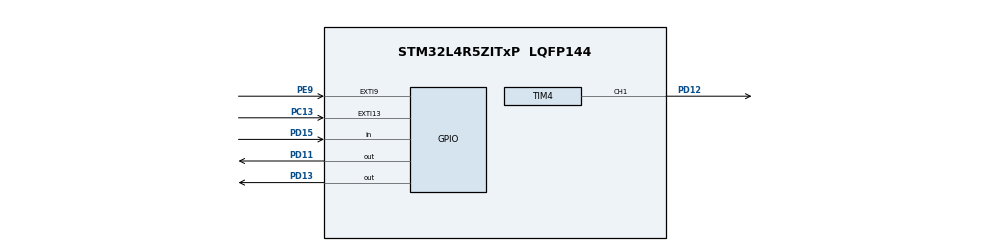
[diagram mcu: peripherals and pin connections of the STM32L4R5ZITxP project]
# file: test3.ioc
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Mcu.Family=STM32L4
Mcu.Name=STM32L4R5ZITxP
Mcu.Package=LQFP144
NVIC.EXTI15_10_IRQn=true\:0\:0\:false\:false\:true\:true\:true\:true
NVIC.EXTI9_5_IRQn=true\:0\:0\:false\:false\:true\:true\:true\:true
NVIC.PriorityGroup=NVIC_PRIORITYGROUP_4
NVIC.TIM4_IRQn=true\:0\:0\:false\:false\:true\:true\:true\:true
PA0.Signal=S_TIM2_CH1
PA1.Signal=ADCx_IN6
PA10.Signal=USB_OTG_FS_ID
PA13\ (JTMS/SWDIO).Signal=SYS_JTMS-SWDIO
PA14\ (JTCK/SWCLK).Signal=SYS_JTCK-SWCLK
PA3.Signal=ADCx_IN8
PA4.Signal=SPI1_NSS
PA5.Signal=SPI1_SCK
PA6.Signal=SPI1_MISO
PA7.Signal=SPI1_MOSI
PA8.Signal=USB_OTG_FS_SOF
PA9.Signal=USB_OTG_FS_VBUS
PB0.Signal=S_TIM3_CH3
PB1.Signal=ADCx_IN16
PB10.Signal=S_TIM2_CH3
PB12.Signal=SAI2_FS_A
PB13.Signal=SAI2_SCK_A
PB14.Signal=S_TIM15_CH1
PB15.Signal=SAI2_SD_A
PB2.Signal=COMP1_INP
PB3\ (JTDO/TRACESWO).Signal=SPI3_SCK
PB4\ (NJTRST).Signal=SPI3_MISO
PB5.Signal=SPI3_MOSI
PB6.Signal=COMP2_INP
PB8.Signal=I2C1_SCL
PB9.Signal=I2C1_SDA
PC0.Signal=ADCx_IN1
PC1.Signal=ADCx_IN2
PC10.Signal=SDMMC1_D2
PC11.Signal=SDMMC1_D3
PC12.Signal=SDMMC1_CK
PC13.GPIO_ModeDefaultEXTI=GPIO_MODE_IT_FALLING
PC13.Signal=GPXTI13
PC14-OSC32_IN\ (PC14).Signal=RCC_OSC32_IN
PC15-OSC32_OUT\ (PC15).Signal=RCC_OSC32_OUT
PC2.Signal=ADCx_IN3
PC3.Signal=ADCx_IN4
PC4.Signal=ADCx_IN13
PC5.Signal=ADCx_IN14
PC6.Signal=SAI2_MCLK_A
PC7.Signal=S_TIM3_CH2
PC8.Signal=SDMMC1_D0
PC9.Signal=SDMMC1_D1
PD0.Signal=CAN1_RX
PD11.Signal=GPIO_Output
PD12.Signal=S_TIM4_CH1
PD13.Signal=GPIO_Output
PD14.Signal=S_TIM4_CH3
PD15.GPIO_PuPd=GPIO_PULLUP
PD15.Signal=GPIO_Input
PD2.Signal=SDMMC1_CMD
PD3.Signal=USART2_CTS
PD4.Signal=USART2_RTS
PD5.Signal=USART2_TX
PD6.Signal=USART2_RX
PD8.Signal=USART3_TX
PD9.Signal=USART3_RX
PE0.Signal=S_TIM4_ETR
PE10.Signal=TIM1_CH2N
PE11.Signal=S_TIM1_CH2
PE12.Signal=TIM1_CH3N
PE13.Signal=S_TIM1_CH3
PE14.Signal=TIM1_BKIN2
PE15.Signal=TIM1_BKIN
PE2.Signal=SAI1_MCLK_A
PE3.Signal=SAI1_SD_B
PE7.Signal=S_TIM1_ETR
PE8.Signal=TIM1_CH1N
PE9.GPIO_ModeDefaultEXTI=GPIO_MODE_IT_FALLING
PE9.GPIO_PuPd=GPIO_PULLUP
PE9.Signal=GPXTI9
PF0.Signal=I2C2_SDA
PF1.Signal=I2C2_SCL
PF2.Signal=I2C2_SMBA
PF7.Signal=SAI1_MCLK_B
PG7.Signal=LPUART1_TX
PG8.Signal=LPUART1_RX
PH0-OSC_IN\ (PH0).Signal=RCC_OSC_IN
PH1-OSC_OUT\ (PH1).Signal=RCC_OSC_OUT
ProjectManager.HeapSize=0x200
ProjectManager.StackSize=0x400
ProjectManager.TargetToolchain=STM32CubeIDE
RCC.HSE_VALUE=8000000
RCC.HSI48_VALUE=48000000
RCC.HSI_VALUE=16000000
RCC.LSE_VALUE=32768
RCC.MSI_VALUE=4000000
RCC.VCOOutputFreq_Value=32000000
SH.ADCx_IN1.0=ADC1_IN1
SH.ADCx_IN13.0=ADC1_IN13
SH.ADCx_IN14.0=ADC1_IN14
SH.ADCx_IN16.0=ADC1_IN16
SH.ADCx_IN2.0=ADC1_IN2
SH.ADCx_IN3.0=ADC1_IN3
SH.ADCx_IN4.0=ADC1_IN4
SH.ADCx_IN6.0=ADC1_IN6
SH.ADCx_IN8.0=ADC1_IN8
SH.S_TIM15_CH1.0=TIM15_CH1
SH.S_TIM1_CH2.0=TIM1_CH2
SH.S_TIM1_CH3.0=TIM1_CH3
SH.S_TIM1_ETR.0=TIM1_ETR
SH.S_TIM2_CH1.0=TIM2_CH1
SH.S_TIM2_CH3.0=TIM2_CH3
SH.S_TIM3_CH2.0=TIM3_CH2
SH.S_TIM3_CH3.0=TIM3_CH3
SH.S_TIM4_CH1.0=TIM4_CH1,PWM Generation1 CH1
SH.S_TIM4_CH3.0=TIM4_CH3
SH.S_TIM4_ETR.0=TIM4_ETR
TIM4.Channel-PWM\ Generation1\ CH1=TIM_CHANNEL_1
TIM4.Period=999
TIM4.Prescaler=1
TIM4.Pulse-PWM\ Generation1\ CH1=500
board=NUCLEO-L4R5ZI-P

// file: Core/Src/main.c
/* USER CODE BEGIN Header */
/**
  ******************************************************************************
  * @file           : main.c
  * @brief          : Main program body
  ******************************************************************************
  * @attention
  *
  * Copyright (c) 2026 STMicroelectronics.
  * All rights reserved.
  *
  * This software is licensed under terms that can be found in the LICENSE file
  * in the root directory of this software component.
  * If no LICENSE file comes with this software, it is provided AS-IS.
  *
  ******************************************************************************
  */
/* USER CODE END Header */
#include "main.h"

/* USER CODE BEGIN PD */
#define coord2Move(coord) (((coord) / 100.0) * (523.875-unusable))
/* USER CODE END PD */

TIM_HandleTypeDef htim4;

/* USER CODE BEGIN PV */
volatile int target = 0;
volatile double curr = 0.0;
volatile int arr = 4000;
volatile int dir = 1;
volatile int homing = 0;
volatile int hcom = 0;
volatile int unusable = 5.6;

/* USER CODE END PV */

void SystemClock_Config(void);
static void MX_GPIO_Init(void);
static void MX_TIM4_Init(void);
/* USER CODE BEGIN PFP */
void mMove(double targetpos, double currpos);
/* USER CODE END PFP */

/* USER CODE BEGIN 0 */
void HAL_TIM_PWM_PulseFinishedCallback(TIM_HandleTypeDef *htim) {
	if(htim->Channel == HAL_TIM_ACTIVE_CHANNEL_1) {
		if(target > 0) {
			target--;

			curr += (0.0516 * dir);

			if(arr > 999) {
				arr -= 2;
				__HAL_TIM_SET_AUTORELOAD(&htim4, arr);
				__HAL_TIM_SET_COMPARE(&htim4, TIM_CHANNEL_1, arr/2);
			}
		} else {
			HAL_GPIO_WritePin(GPIOD, GPIO_PIN_11, GPIO_PIN_SET);
			HAL_TIM_PWM_Stop_IT(&htim4, TIM_CHANNEL_1);
		}
	}
}

void HAL_GPIO_EXTI_Callback(uint16_t GPIO_Pin) {
	if(GPIO_Pin == GPIO_PIN_13) {
			homing = 1;
			HAL_GPIO_WritePin(GPIOD, GPIO_PIN_13, GPIO_PIN_SET);
			dir = -1;
			target = 1000000;
			arr = 4000;

			__HAL_TIM_SET_AUTORELOAD(&htim4, arr);
			__HAL_TIM_SET_COMPARE(&htim4, TIM_CHANNEL_1, arr/2);
			HAL_GPIO_WritePin(GPIOD, GPIO_PIN_11, GPIO_PIN_RESET);
			HAL_TIM_PWM_Start_IT(&htim4, TIM_CHANNEL_1);
		}

	if(GPIO_Pin == GPIO_PIN_9) {
		HAL_TIM_PWM_Stop_IT(&htim4, TIM_CHANNEL_1);
		HAL_GPIO_WritePin(GPIOD, GPIO_PIN_11, GPIO_PIN_SET);
		target = 0;
		curr = 0.0;
		homing = 0;
		hcom = 1;
	}
}

/* USER CODE END 0 */

int main(void)
{

  /* MCU Configuration--------------------------------------------------------*/

  /* Reset of all peripherals, Initializes the Flash interface and the Systick. */
  HAL_Init();

  /* Configure the system clock */
  SystemClock_Config();

  /* Initialize all configured peripherals */
  MX_GPIO_Init();
  MX_TIM4_Init();
  /* USER CODE BEGIN 2 */
//  HAL_GPIO_WritePin(GPIOD, GPIO_PIN_11, GPIO_PIN_RESET);
  HAL_TIM_PWM_Start_IT(&htim4, TIM_CHANNEL_1);

  /* USER CODE END 2 */

  /* Infinite loop */
  double positions[] = {10.0, 20.0, 20.0, 30.0, 40.0, 50.0, 60.0, 70.0, 80.0, 90.0};

    /* USER CODE BEGIN WHILE */
    while (1)
    {
  	  if(homing) continue;

  	  if(hcom) {
  		  mMove(coord2Move(unusable), 0.0);
  		  while(target > 0);
  		  curr = 0.0;
  		  hcom = 0;
  	  }

  	  for(int i = 0; i < 10; i++) {
  		  if(homing) break;

  		  mMove(coord2Move(positions[i]), curr);

  		  while(target > 0 && !homing);

  		  if(homing) break;
  		  HAL_Delay(1000);
  	  }
      /* USER CODE END WHILE */
  }
}

void SystemClock_Config(void)
{
  RCC_OscInitTypeDef RCC_OscInitStruct = {0};
  RCC_ClkInitTypeDef RCC_ClkInitStruct = {0};

  /** Configure the main internal regulator output voltage
  */
  if (HAL_PWREx_ControlVoltageScaling(PWR_REGULATOR_VOLTAGE_SCALE1) != HAL_OK)
  {
    Error_Handler();
  }

  /** Initializes the RCC Oscillators according to the specified parameters
  * in the RCC_OscInitTypeDef structure.
  */
  RCC_OscInitStruct.OscillatorType = RCC_OSCILLATORTYPE_MSI;
  RCC_OscInitStruct.MSIState = RCC_MSI_ON;
  RCC_OscInitStruct.MSICalibrationValue = 0;
  RCC_OscInitStruct.MSIClockRange = RCC_MSIRANGE_6;
  RCC_OscInitStruct.PLL.PLLState = RCC_PLL_NONE;
  if (HAL_RCC_OscConfig(&RCC_OscInitStruct) != HAL_OK)
  {
    Error_Handler();
  }

  /** Initializes the CPU, AHB and APB buses clocks
  */
  RCC_ClkInitStruct.ClockType = RCC_CLOCKTYPE_HCLK|RCC_CLOCKTYPE_SYSCLK
                              |RCC_CLOCKTYPE_PCLK1|RCC_CLOCKTYPE_PCLK2;
  RCC_ClkInitStruct.SYSCLKSource = RCC_SYSCLKSOURCE_MSI;
  RCC_ClkInitStruct.AHBCLKDivider = RCC_SYSCLK_DIV1;
  RCC_ClkInitStruct.APB1CLKDivider = RCC_HCLK_DIV1;
  RCC_ClkInitStruct.APB2CLKDivider = RCC_HCLK_DIV1;

  if (HAL_RCC_ClockConfig(&RCC_ClkInitStruct, FLASH_LATENCY_0) != HAL_OK)
  {
    Error_Handler();
  }
}

static void MX_TIM4_Init(void)
{

  TIM_MasterConfigTypeDef sMasterConfig = {0};
  TIM_OC_InitTypeDef sConfigOC = {0};

  htim4.Instance = TIM4;
  htim4.Init.Prescaler = 1;
  htim4.Init.CounterMode = TIM_COUNTERMODE_UP;
  htim4.Init.Period = 999;
  htim4.Init.ClockDivision = TIM_CLOCKDIVISION_DIV1;
  htim4.Init.AutoReloadPreload = TIM_AUTORELOAD_PRELOAD_DISABLE;
  if (HAL_TIM_PWM_Init(&htim4) != HAL_OK)
  {
    Error_Handler();
  }
  sMasterConfig.MasterOutputTrigger = TIM_TRGO_RESET;
  sMasterConfig.MasterSlaveMode = TIM_MASTERSLAVEMODE_DISABLE;
  if (HAL_TIMEx_MasterConfigSynchronization(&htim4, &sMasterConfig) != HAL_OK)
  {
    Error_Handler();
  }
  sConfigOC.OCMode = TIM_OCMODE_PWM1;
  sConfigOC.Pulse = 500;
  sConfigOC.OCPolarity = TIM_OCPOLARITY_HIGH;
  sConfigOC.OCFastMode = TIM_OCFAST_DISABLE;
  if (HAL_TIM_PWM_ConfigChannel(&htim4, &sConfigOC, TIM_CHANNEL_1) != HAL_OK)
  {
    Error_Handler();
  }
  HAL_TIM_MspPostInit(&htim4);

}

static void MX_GPIO_Init(void)
{
  GPIO_InitTypeDef GPIO_InitStruct = {0};

  /* GPIO Ports Clock Enable */
  __HAL_RCC_GPIOE_CLK_ENABLE();
  __HAL_RCC_GPIOC_CLK_ENABLE();
  __HAL_RCC_GPIOF_CLK_ENABLE();
  __HAL_RCC_GPIOH_CLK_ENABLE();
  __HAL_RCC_GPIOA_CLK_ENABLE();
  __HAL_RCC_GPIOB_CLK_ENABLE();
  __HAL_RCC_GPIOD_CLK_ENABLE();
  __HAL_RCC_GPIOG_CLK_ENABLE();
  HAL_PWREx_EnableVddIO2();

  /*Configure GPIO pin Output Level */
  HAL_GPIO_WritePin(GPIOD, GPIO_PIN_11|GPIO_PIN_13, GPIO_PIN_RESET);

  /*Configure GPIO pins : PE2 PE3 */
  GPIO_InitStruct.Pin = GPIO_PIN_2|GPIO_PIN_3;
  GPIO_InitStruct.Mode = GPIO_MODE_AF_PP;
  GPIO_InitStruct.Pull = GPIO_NOPULL;
  GPIO_InitStruct.Speed = GPIO_SPEED_FREQ_LOW;
  GPIO_InitStruct.Alternate = GPIO_AF13_SAI1;
  HAL_GPIO_Init(GPIOE, &GPIO_InitStruct);

  /*Configure GPIO pin : PC13 */
  GPIO_InitStruct.Pin = GPIO_PIN_13;
  GPIO_InitStruct.Mode = GPIO_MODE_IT_FALLING;
  GPIO_InitStruct.Pull = GPIO_NOPULL;
  HAL_GPIO_Init(GPIOC, &GPIO_InitStruct);

  /*Configure GPIO pins : PF0 PF1 PF2 */
  GPIO_InitStruct.Pin = GPIO_PIN_0|GPIO_PIN_1|GPIO_PIN_2;
  GPIO_InitStruct.Mode = GPIO_MODE_AF_OD;
  GPIO_InitStruct.Pull = GPIO_NOPULL;
  GPIO_InitStruct.Speed = GPIO_SPEED_FREQ_VERY_HIGH;
  GPIO_InitStruct.Alternate = GPIO_AF4_I2C2;
  HAL_GPIO_Init(GPIOF, &GPIO_InitStruct);

  /*Configure GPIO pin : PF7 */
  GPIO_InitStruct.Pin = GPIO_PIN_7;
  GPIO_InitStruct.Mode = GPIO_MODE_AF_PP;
  GPIO_InitStruct.Pull = GPIO_NOPULL;
  GPIO_InitStruct.Speed = GPIO_SPEED_FREQ_LOW;
  GPIO_InitStruct.Alternate = GPIO_AF13_SAI1;
  HAL_GPIO_Init(GPIOF, &GPIO_InitStruct);

  /*Configure GPIO pins : PC0 PC1 PC2 PC3
                           PC4 PC5 */
  GPIO_InitStruct.Pin = GPIO_PIN_0|GPIO_PIN_1|GPIO_PIN_2|GPIO_PIN_3
                          |GPIO_PIN_4|GPIO_PIN_5;
  GPIO_InitStruct.Mode = GPIO_MODE_ANALOG_ADC_CONTROL;
  GPIO_InitStruct.Pull = GPIO_NOPULL;
  HAL_GPIO_Init(GPIOC, &GPIO_InitStruct);

  /*Configure GPIO pin : PA0 */
  GPIO_InitStruct.Pin = GPIO_PIN_0;
  GPIO_InitStruct.Mode = GPIO_MODE_AF_PP;
  GPIO_InitStruct.Pull = GPIO_NOPULL;
  GPIO_InitStruct.Speed = GPIO_SPEED_FREQ_LOW;
  GPIO_InitStruct.Alternate = GPIO_AF1_TIM2;
  HAL_GPIO_Init(GPIOA, &GPIO_InitStruct);

  /*Configure GPIO pins : PA1 PA3 */
  GPIO_InitStruct.Pin = GPIO_PIN_1|GPIO_PIN_3;
  GPIO_InitStruct.Mode = GPIO_MODE_ANALOG_ADC_CONTROL;
  GPIO_InitStruct.Pull = GPIO_NOPULL;
  HAL_GPIO_Init(GPIOA, &GPIO_InitStruct);

  /*Configure GPIO pins : PA4 PA5 PA6 PA7 */
  GPIO_InitStruct.Pin = GPIO_PIN_4|GPIO_PIN_5|GPIO_PIN_6|GPIO_PIN_7;
  GPIO_InitStruct.Mode = GPIO_MODE_AF_PP;
  GPIO_InitStruct.Pull = GPIO_NOPULL;
  GPIO_InitStruct.Speed = GPIO_SPEED_FREQ_VERY_HIGH;
  GPIO_InitStruct.Alternate = GPIO_AF5_SPI1;
  HAL_GPIO_Init(GPIOA, &GPIO_InitStruct);

  /*Configure GPIO pin : PB0 */
  GPIO_InitStruct.Pin = GPIO_PIN_0;
  GPIO_InitStruct.Mode = GPIO_MODE_AF_PP;
  GPIO_InitStruct.Pull = GPIO_NOPULL;
  GPIO_InitStruct.Speed = GPIO_SPEED_FREQ_LOW;
  GPIO_InitStruct.Alternate = GPIO_AF2_TIM3;
  HAL_GPIO_Init(GPIOB, &GPIO_InitStruct);

  /*Configure GPIO pin : PB1 */
  GPIO_InitStruct.Pin = GPIO_PIN_1;
  GPIO_InitStruct.Mode = GPIO_MODE_ANALOG_ADC_CONTROL;
  GPIO_InitStruct.Pull = GPIO_NOPULL;
  HAL_GPIO_Init(GPIOB, &GPIO_InitStruct);

  /*Configure GPIO pins : PB2 PB6 */
  GPIO_InitStruct.Pin = GPIO_PIN_2|GPIO_PIN_6;
  GPIO_InitStruct.Mode = GPIO_MODE_ANALOG;
  GPIO_InitStruct.Pull = GPIO_NOPULL;
  HAL_GPIO_Init(GPIOB, &GPIO_InitStruct);

  /*Configure GPIO pins : PE7 PE8 PE10 PE11
                           PE12 PE13 */
  GPIO_InitStruct.Pin = GPIO_PIN_7|GPIO_PIN_8|GPIO_PIN_10|GPIO_PIN_11
                          |GPIO_PIN_12|GPIO_PIN_13;
  GPIO_InitStruct.Mode = GPIO_MODE_AF_PP;
  GPIO_InitStruct.Pull = GPIO_NOPULL;
  GPIO_InitStruct.Speed = GPIO_SPEED_FREQ_LOW;
  GPIO_InitStruct.Alternate = GPIO_AF1_TIM1;
  HAL_GPIO_Init(GPIOE, &GPIO_InitStruct);

  /*Configure GPIO pin : PE9 */
  GPIO_InitStruct.Pin = GPIO_PIN_9;
  GPIO_InitStruct.Mode = GPIO_MODE_IT_FALLING;
  GPIO_InitStruct.Pull = GPIO_PULLUP;
  HAL_GPIO_Init(GPIOE, &GPIO_InitStruct);

  /*Configure GPIO pins : PE14 PE15 */
  GPIO_InitStruct.Pin = GPIO_PIN_14|GPIO_PIN_15;
  GPIO_InitStruct.Mode = GPIO_MODE_AF_PP;
  GPIO_InitStruct.Pull = GPIO_NOPULL;
  GPIO_InitStruct.Speed = GPIO_SPEED_FREQ_LOW;
  GPIO_InitStruct.Alternate = GPIO_AF3_TIM1_COMP1;
  HAL_GPIO_Init(GPIOE, &GPIO_InitStruct);

  /*Configure GPIO pin : PB10 */
  GPIO_InitStruct.Pin = GPIO_PIN_10;
  GPIO_InitStruct.Mode = GPIO_MODE_AF_PP;
  GPIO_InitStruct.Pull = GPIO_NOPULL;
  GPIO_InitStruct.Speed = GPIO_SPEED_FREQ_LOW;
  GPIO_InitStruct.Alternate = GPIO_AF1_TIM2;
  HAL_GPIO_Init(GPIOB, &GPIO_InitStruct);

  /*Configure GPIO pins : PB12 PB13 PB15 */
  GPIO_InitStruct.Pin = GPIO_PIN_12|GPIO_PIN_13|GPIO_PIN_15;
  GPIO_InitStruct.Mode = GPIO_MODE_AF_PP;
  GPIO_InitStruct.Pull = GPIO_NOPULL;
  GPIO_InitStruct.Speed = GPIO_SPEED_FREQ_LOW;
  GPIO_InitStruct.Alternate = GPIO_AF13_SAI2;
  HAL_GPIO_Init(GPIOB, &GPIO_InitStruct);

  /*Configure GPIO pin : PB14 */
  GPIO_InitStruct.Pin = GPIO_PIN_14;
  GPIO_InitStruct.Mode = GPIO_MODE_AF_PP;
  GPIO_InitStruct.Pull = GPIO_NOPULL;
  GPIO_InitStruct.Speed = GPIO_SPEED_FREQ_LOW;
  GPIO_InitStruct.Alternate = GPIO_AF14_TIM15;
  HAL_GPIO_Init(GPIOB, &GPIO_InitStruct);

  /*Configure GPIO pins : PD8 PD9 */
  GPIO_InitStruct.Pin = GPIO_PIN_8|GPIO_PIN_9;
  GPIO_InitStruct.Mode = GPIO_MODE_AF_PP;
  GPIO_InitStruct.Pull = GPIO_NOPULL;
  GPIO_InitStruct.Speed = GPIO_SPEED_FREQ_VERY_HIGH;
  GPIO_InitStruct.Alternate = GPIO_AF7_USART3;
  HAL_GPIO_Init(GPIOD, &GPIO_InitStruct);

  /*Configure GPIO pins : PD11 PD13 */
  GPIO_InitStruct.Pin = GPIO_PIN_11|GPIO_PIN_13;
  GPIO_InitStruct.Mode = GPIO_MODE_OUTPUT_PP;
  GPIO_InitStruct.Pull = GPIO_NOPULL;
  GPIO_InitStruct.Speed = GPIO_SPEED_FREQ_LOW;
  HAL_GPIO_Init(GPIOD, &GPIO_InitStruct);

  /*Configure GPIO pin : PD15 */
  GPIO_InitStruct.Pin = GPIO_PIN_15;
  GPIO_InitStruct.Mode = GPIO_MODE_INPUT;
  GPIO_InitStruct.Pull = GPIO_PULLUP;
  HAL_GPIO_Init(GPIOD, &GPIO_InitStruct);

  /*Configure GPIO pins : PG7 PG8 */
  GPIO_InitStruct.Pin = GPIO_PIN_7|GPIO_PIN_8;
  GPIO_InitStruct.Mode = GPIO_MODE_AF_PP;
  GPIO_InitStruct.Pull = GPIO_NOPULL;
  GPIO_InitStruct.Speed = GPIO_SPEED_FREQ_VERY_HIGH;
  GPIO_InitStruct.Alternate = GPIO_AF8_LPUART1;
  HAL_GPIO_Init(GPIOG, &GPIO_InitStruct);

  /*Configure GPIO pin : PC6 */
  GPIO_InitStruct.Pin = GPIO_PIN_6;
  GPIO_InitStruct.Mode = GPIO_MODE_AF_PP;
  GPIO_InitStruct.Pull = GPIO_NOPULL;
  GPIO_InitStruct.Speed = GPIO_SPEED_FREQ_LOW;
  GPIO_InitStruct.Alternate = GPIO_AF13_SAI2;
  HAL_GPIO_Init(GPIOC, &GPIO_InitStruct);

  /*Configure GPIO pin : PC7 */
  GPIO_InitStruct.Pin = GPIO_PIN_7;
  GPIO_InitStruct.Mode = GPIO_MODE_AF_PP;
  GPIO_InitStruct.Pull = GPIO_NOPULL;
  GPIO_InitStruct.Speed = GPIO_SPEED_FREQ_LOW;
  GPIO_InitStruct.Alternate = GPIO_AF2_TIM3;
  HAL_GPIO_Init(GPIOC, &GPIO_InitStruct);

  /*Configure GPIO pins : PC8 PC9 PC10 PC11
                           PC12 */
  GPIO_InitStruct.Pin = GPIO_PIN_8|GPIO_PIN_9|GPIO_PIN_10|GPIO_PIN_11
                          |GPIO_PIN_12;
  GPIO_InitStruct.Mode = GPIO_MODE_AF_PP;
  GPIO_InitStruct.Pull = GPIO_NOPULL;
  GPIO_InitStruct.Speed = GPIO_SPEED_FREQ_VERY_HIGH;
  GPIO_InitStruct.Alternate = GPIO_AF12_SDMMC1;
  HAL_GPIO_Init(GPIOC, &GPIO_InitStruct);

  /*Configure GPIO pins : PA8 PA10 */
  GPIO_InitStruct.Pin = GPIO_PIN_8|GPIO_PIN_10;
  GPIO_InitStruct.Mode = GPIO_MODE_AF_PP;
  GPIO_InitStruct.Pull = GPIO_NOPULL;
  GPIO_InitStruct.Speed = GPIO_SPEED_FREQ_VERY_HIGH;
  GPIO_InitStruct.Alternate = GPIO_AF10_OTG_FS;
  HAL_GPIO_Init(GPIOA, &GPIO_InitStruct);

  /*Configure GPIO pin : PA9 */
  GPIO_InitStruct.Pin = GPIO_PIN_9;
  GPIO_InitStruct.Mode = GPIO_MODE_INPUT;
  GPIO_InitStruct.Pull = GPIO_NOPULL;
  HAL_GPIO_Init(GPIOA, &GPIO_InitStruct);

  /*Configure GPIO pin : PD0 */
  GPIO_InitStruct.Pin = GPIO_PIN_0;
  GPIO_InitStruct.Mode = GPIO_MODE_AF_PP;
  GPIO_InitStruct.Pull = GPIO_NOPULL;
  GPIO_InitStruct.Speed = GPIO_SPEED_FREQ_VERY_HIGH;
  GPIO_InitStruct.Alternate = GPIO_AF9_CAN1;
  HAL_GPIO_Init(GPIOD, &GPIO_InitStruct);

  /*Configure GPIO pin : PD2 */
  GPIO_InitStruct.Pin = GPIO_PIN_2;
  GPIO_InitStruct.Mode = GPIO_MODE_AF_PP;
  GPIO_InitStruct.Pull = GPIO_NOPULL;
  GPIO_InitStruct.Speed = GPIO_SPEED_FREQ_VERY_HIGH;
  GPIO_InitStruct.Alternate = GPIO_AF12_SDMMC1;
  HAL_GPIO_Init(GPIOD, &GPIO_InitStruct);

  /*Configure GPIO pins : PD3 PD4 PD5 PD6 */
  GPIO_InitStruct.Pin = GPIO_PIN_3|GPIO_PIN_4|GPIO_PIN_5|GPIO_PIN_6;
  GPIO_InitStruct.Mode = GPIO_MODE_AF_PP;
  GPIO_InitStruct.Pull = GPIO_NOPULL;
  GPIO_InitStruct.Speed = GPIO_SPEED_FREQ_VERY_HIGH;
  GPIO_InitStruct.Alternate = GPIO_AF7_USART2;
  HAL_GPIO_Init(GPIOD, &GPIO_InitStruct);

  /*Configure GPIO pins : PB3 PB4 PB5 */
  GPIO_InitStruct.Pin = GPIO_PIN_3|GPIO_PIN_4|GPIO_PIN_5;
  GPIO_InitStruct.Mode = GPIO_MODE_AF_PP;
  GPIO_InitStruct.Pull = GPIO_NOPULL;
  GPIO_InitStruct.Speed = GPIO_SPEED_FREQ_VERY_HIGH;
  GPIO_InitStruct.Alternate = GPIO_AF6_SPI3;
  HAL_GPIO_Init(GPIOB, &GPIO_InitStruct);

  /*Configure GPIO pins : PB8 PB9 */
  GPIO_InitStruct.Pin = GPIO_PIN_8|GPIO_PIN_9;
  GPIO_InitStruct.Mode = GPIO_MODE_AF_OD;
  GPIO_InitStruct.Pull = GPIO_NOPULL;
  GPIO_InitStruct.Speed = GPIO_SPEED_FREQ_VERY_HIGH;
  GPIO_InitStruct.Alternate = GPIO_AF4_I2C1;
  HAL_GPIO_Init(GPIOB, &GPIO_InitStruct);

  /* EXTI interrupt init*/
  HAL_NVIC_SetPriority(EXTI9_5_IRQn, 0, 0);
  HAL_NVIC_EnableIRQ(EXTI9_5_IRQn);

  HAL_NVIC_SetPriority(EXTI15_10_IRQn, 0, 0);
  HAL_NVIC_EnableIRQ(EXTI15_10_IRQn);

}

/* USER CODE BEGIN 4 */
void mMove(double targetpos, double currpos) {
	double dist = targetpos - currpos;

	if(dist >= 0) {
		HAL_GPIO_WritePin(GPIOD, GPIO_PIN_13, GPIO_PIN_RESET);
		dir = 1;
	} else {
		HAL_GPIO_WritePin(GPIOD, GPIO_PIN_13, GPIO_PIN_SET);
		dir = -1;
		dist = -dist;
	}

	target = (int)(dist * 19.38);

	arr = 4000;
	__HAL_TIM_SET_AUTORELOAD(&htim4, arr);
	__HAL_TIM_SET_COMPARE(&htim4, TIM_CHANNEL_1, arr/2);

	HAL_GPIO_WritePin(GPIOD, GPIO_PIN_11, GPIO_PIN_RESET);
	HAL_TIM_PWM_Start_IT(&htim4, TIM_CHANNEL_1);
}

/* USER CODE END 4 */

void Error_Handler(void)
{
  __disable_irq();
  while (1)
  {
  }
}
